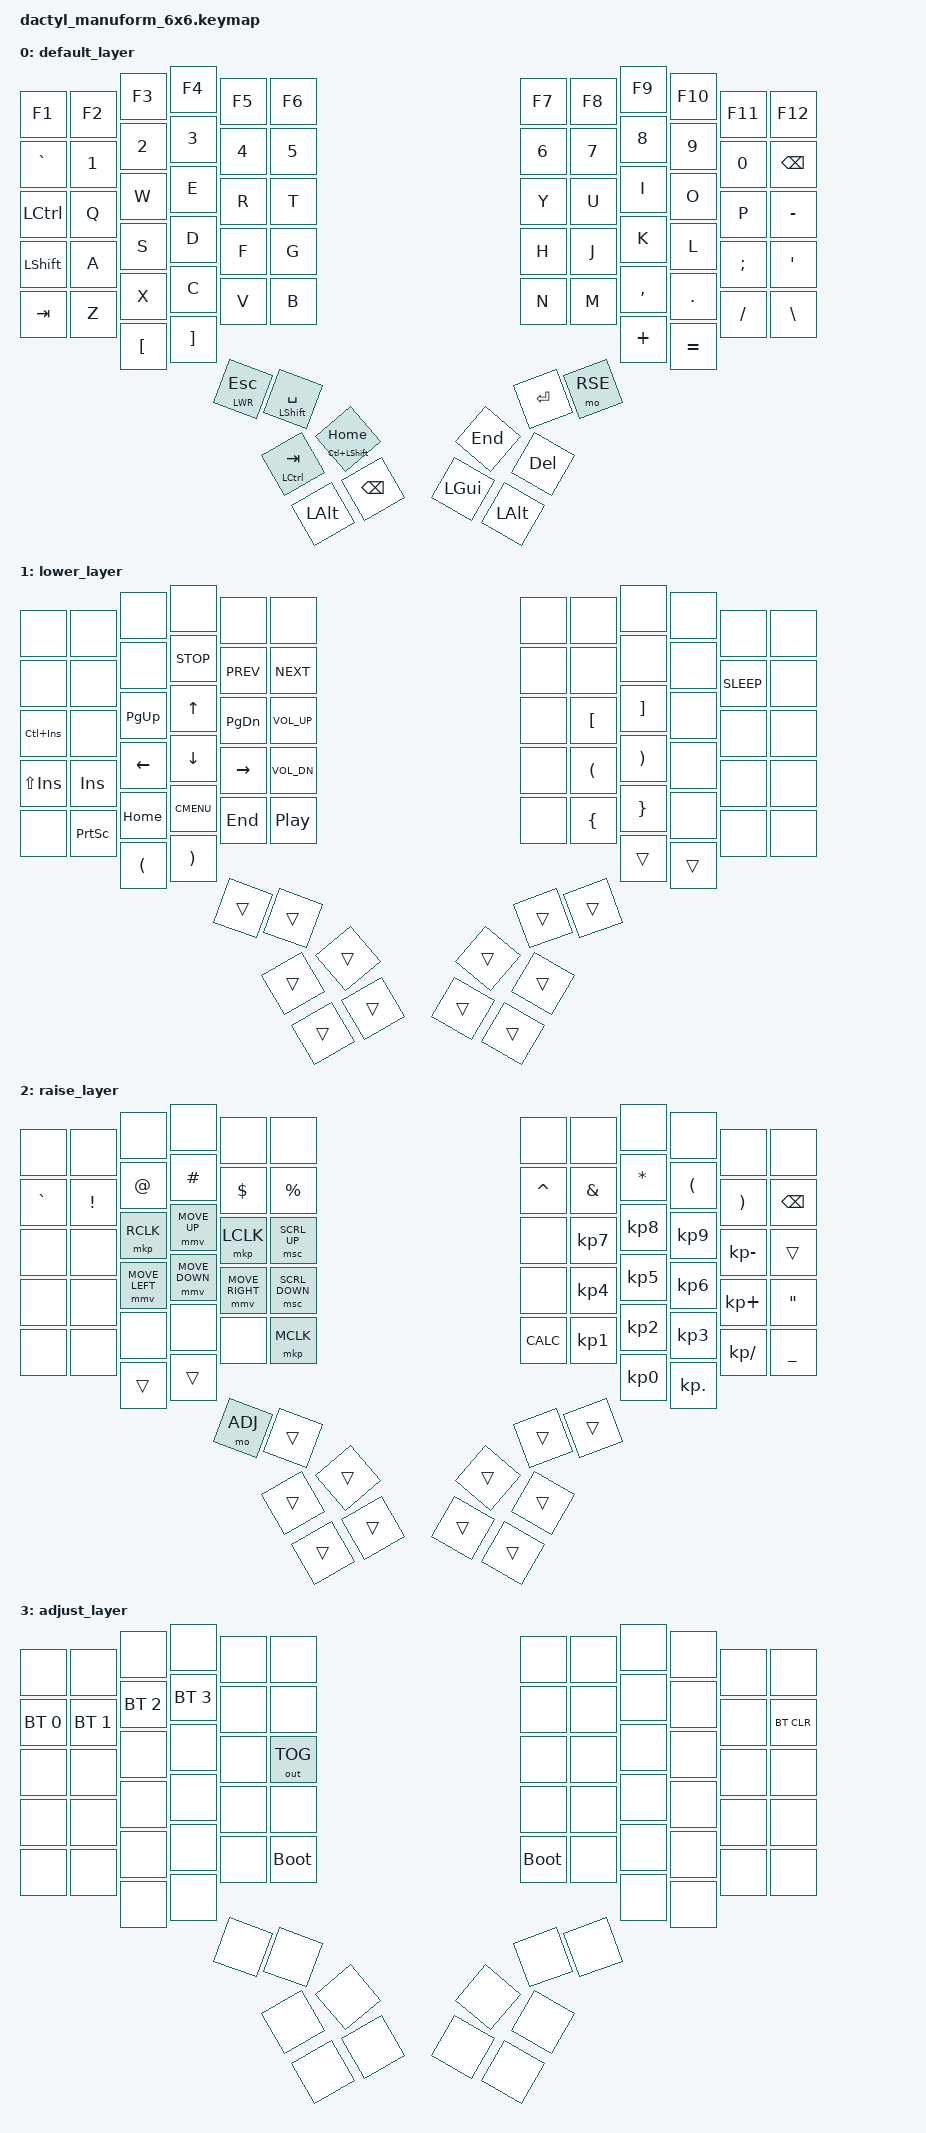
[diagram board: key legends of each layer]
#include <behaviors.dtsi>
#include <dt-bindings/zmk/keys.h>
#include <dt-bindings/zmk/bt.h>
#include <dt-bindings/zmk/outputs.h>
#include <dt-bindings/zmk/pointing.h>

#define DEFAULT 0
#define LWR 1
#define RSE 2
#define ADJ 3

/ {
    keymap {
        compatible = "zmk,keymap";

        default_layer {
            bindings = <
                &kp F1    &kp F2 &kp F3   &kp F4 &kp F5 &kp F6                   &kp F7 &kp F8 &kp F9    &kp F10 &kp F11  &kp F12
                &kp GRAVE &kp N1 &kp N2   &kp N3 &kp N4 &kp N5                   &kp N6 &kp N7 &kp N8    &kp N9  &kp N0   &kp BSPC
                &kp LCTRL &kp Q  &kp W    &kp E  &kp R  &kp T                    &kp Y  &kp U  &kp I     &kp O   &kp P    &kp MINUS
                &kp LSHFT &kp A  &kp S    &kp D  &kp F  &kp G                    &kp H  &kp J  &kp K     &kp L   &kp SEMI &kp SQT
                &kp TAB   &kp Z  &kp X    &kp C  &kp V  &kp B                    &kp N  &kp M  &kp COMMA &kp DOT &kp FSLH &kp BSLH
                                 &kp LBKT &kp RBKT                                             &kp PLUS  &kp EQUAL
                                            &lt LWR ESC    &mt LSHFT SPACE       &kp RET   &mo RSE
                                            &mt LCTRL TAB  &mt LC(LSHFT) HOME    &kp END   &kp DEL
                                            &kp LALT       &kp BSPC              &kp LGUI  &kp LALT
            >;
        };

        lower_layer {
            bindings = <
                &none       &none     &none     &none       &none      &none           &none     &none    &none    &none     &none        &none
                &none       &none     &none     &kp C_STOP  &kp C_PREV &kp C_NEXT      &none     &none    &none    &none     &kp K_SLEEP     &none
                &kp LC(INS) &none     &kp PG_UP &kp UP      &kp PG_DN  &kp C_VOL_UP    &none     &kp LBKT &kp RBKT &none     &none        &none
                &kp LS(INS) &kp INS   &kp LEFT  &kp DOWN    &kp RIGHT  &kp C_VOL_DN    &none     &kp LPAR &kp RPAR &none     &none        &none
                &none       &kp PSCRN &kp HOME  &kp K_CMENU &kp END    &kp C_PP        &none     &kp LBRC &kp RBRC &none     &none        &none
                                      &kp LPAR  &kp RPAR                                                 &trans   &trans
                                                            &trans   &trans            &trans &trans
                                                            &trans   &trans            &trans &trans
                                                            &trans   &trans            &trans &trans
            >;
        };

        raise_layer {
            bindings = <
                &none     &none    &none          &none          &none           &none              &none      &none     &none     &none     &none        &none
                &kp GRAVE &kp EXCL &kp AT         &kp HASH       &kp DLLR        &kp PRCNT          &kp CARET  &kp AMPS  &kp STAR  &kp LPAR  &kp RPAR     &kp BSPC
                &none     &none    &mkp RCLK      &mmv MOVE_UP   &mkp LCLK       &msc SCRL_UP       &none      &kp KP_N7 &kp KP_N8 &kp KP_N9 &kp KP_MINUS &trans
                &none     &none    &mmv MOVE_LEFT &mmv MOVE_DOWN &mmv MOVE_RIGHT &msc SCRL_DOWN     &none      &kp KP_N4 &kp KP_N5 &kp KP_N6 &kp KP_PLUS  &kp DQT
                &none     &none    &none          &none          &none           &mkp MCLK          &kp K_CALC &kp KP_N1 &kp KP_N2 &kp KP_N3 &kp KP_SLASH &kp UNDER
                                   &trans         &trans                                                       &kp KP_N0 &kp KP_DOT
                                                       &mo ADJ  &trans                              &trans &trans
                                                       &trans   &trans                              &trans &trans
                                                       &trans   &trans                              &trans &trans
            >;
        };

        adjust_layer {
            bindings = <
                &none        &none        &none        &none        &none  &none            &none       &none  &none &none &none &none
                &bt BT_SEL 0 &bt BT_SEL 1 &bt BT_SEL 2 &bt BT_SEL 3 &none  &none            &none       &none  &none &none &none &bt BT_CLR
                &none        &none        &none        &none        &none  &out OUT_TOG     &none       &none  &none &none &none &none
                &none        &none        &none        &none        &none  &none            &none       &none  &none &none &none &none
                &none        &none        &none        &none        &none  &bootloader      &bootloader &none  &none &none &none &none
                                          &none        &none                                            &none &none
                                                                    &none &none             &none &none
                                                                    &none &none             &none &none
                                                                    &none &none             &none &none
            >;
        };
    };
};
